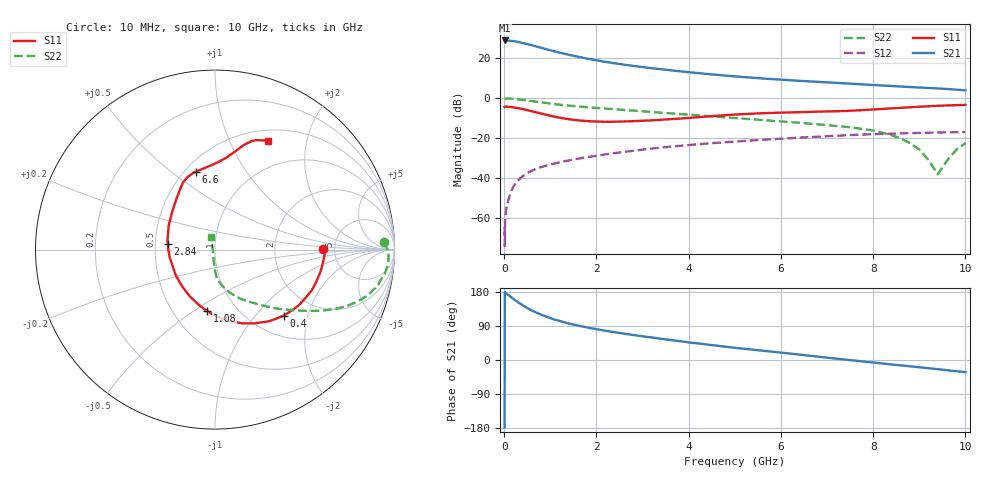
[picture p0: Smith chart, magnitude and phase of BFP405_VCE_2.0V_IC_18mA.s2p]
! Infineon Technologies  Discrete & RF Semiconductors
! BFP405
! VCE =  2.0 V,  IC =  18 mA
! Common Emitter S-Parameters:  Jan 2016
# GHz  S  MA  R  50
!  f  S11  S21  S12  S22
! GHz  MAG  ANG  MAG  ANG  MAG  ANG  MAG  ANG
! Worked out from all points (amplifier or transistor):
!   233 points, 10 MHz to 10 GHz, reference 50 ohm
!   highest |S21| = 28.7 dB at 10 MHz (marker M1)
!   |S21| within 3 dB of that: start of sweep to 695.2 MHz
!   unconditionally stable (mu >= 1): start of sweep to 21.13 MHz; 1.842 GHz to end of sweep
!   at 200 MHz: K = 0.24, MSG = 36.3 dB, |S12| = -44.3 dB
!   at 1.74 GHz: K = 0.97, MSG = 24.8 dB, |S12| = -29.8 dB
!   at 10 GHz: K = 1.39, MAG = 6.7 dB, |S12| = -17.0 dB
!   S11 on the Smith chart (normalised r, x): 10 MHz: 4.02, +0.07; 400 MHz: 1.39, -1.43; 1.08 GHz: 0.73, -0.56; 2.84 GHz: 0.58, +0.04; 6.6 GHz: 0.57, +0.62; 10 GHz: 0.63, +1.40
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0.01  0.6016 0.5  27.3 -177.8  0.0006 -112.5  0.9441 2.6
0.015  0.6066 -1.0  27.27 179.9  0.0002 129.1  0.9508 1.5
0.02  0.6119 -2.4  27.27 177.6  0.0009 93.2  0.9578 0.4
0.1  0.601 -11.6  27.08 170.3  0.0031 85.6  0.9691 -3.8
0.2  0.585 -22.8  26.29 161.2  0.0061 80.5  0.9544 -8.3
0.3  0.5601 -33.7  25.19 152.5  0.0087 76.4  0.9301 -12.2
0.4  0.5311 -43.8  23.79 144.4  0.0111 73.4  0.8976 -15.6
0.52  0.4915 -54.9  21.94 135.9  0.0138 70.0  0.8583 -19.0
0.7  0.4362 -70.2  19.26 124.8  0.0171 66.4  0.8012 -23.0
0.9  0.3831 -85.2  16.67 114.7  0.0204 63.8  0.7461 -26.3
1.08  0.3441 -97.6  14.72 107.2  0.023 62.4  0.7048 -28.6
1.4  0.2962 -118.0  11.99 96.4  0.0276 61.0  0.6448 -32.0
1.68  0.2715 -134.1  10.23 88.7  0.0316 60.0  0.6035 -34.4
2.2  0.2537 -160.7  7.956 77.1  0.0392 58.1  0.5433 -38.3
2.84  0.2658 173.5  6.224 65.3  0.049 54.9  0.4822 -43.1
3.4  0.2854 155.2  5.213 56.1  0.0577 51.2  0.4319 -47.4
5.1  0.3921 119.4  3.388 31.0  0.0833 38.6  0.3074 -62.7
6.6  0.4474 103.6  2.603 11.6  0.1054 26.9  0.2307 -74.6
6.8  0.4519 100.5  2.52 9.0  0.1083 25.2  0.2206 -76.1
8.4  0.5511 79.1  1.978 -11.8  0.1289 10.2  0.1178 -89.7
9.4  0.639 71.3  1.732 -24.5  0.1374 1.5  0.0125 -170.8
10  0.6744 64.2  1.556 -32.1  0.1414 -3.0  0.0748 106.9
